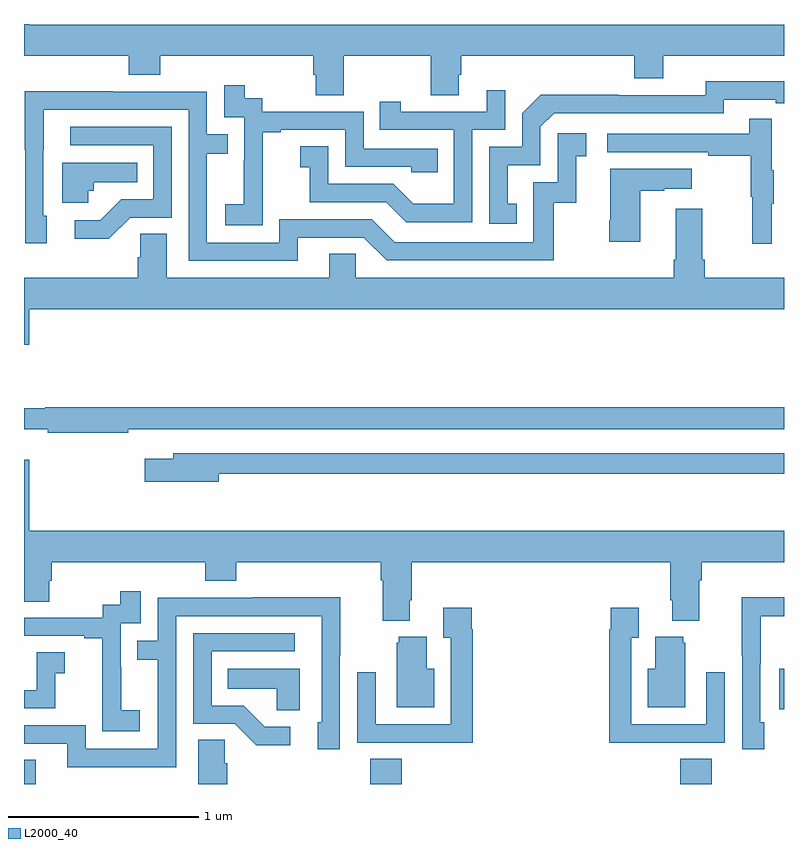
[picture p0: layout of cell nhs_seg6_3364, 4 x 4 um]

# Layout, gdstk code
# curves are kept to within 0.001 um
import gdstk
lib = gdstk.Library(unit=1e-6, precision=1e-09)
def R(c, l, rs):  # rectangles x0, y0, x1, y1
    for r in rs: c.add(gdstk.rectangle(r[:2], r[2:], *l))
def P(c, l, *ps):  # polygons
    for p in ps: c.add(gdstk.Polygon(p, *l))
L2000_40 = (2000, 40)

nhs_seg6_3364 = lib.new_cell('nhs_seg6_3364')
R(nhs_seg6_3364, L2000_40, [(309,947.5,309.061,947.627), (310.823,947.5,310.988,947.633), (312.455,947.5,312.62,947.633), (312.974,947.894,313,948.106)])
P(nhs_seg6_3364, L2000_40, [(310.683,951.332),(311.14,951.332),(311.14,951.124),(311.287,951.124),(311.287,951.234),(311.3,951.234),(311.3,951.332),(312.212,951.332),(312.212,951.215),(312.364,951.215),(312.364,951.332),(313,951.332),(313,951.496),(309.028,951.496),(309.028,951.5),(309,951.5),(309,951.332),(309.551,951.332),(309.551,951.233),(309.716,951.233),(309.716,951.332),(310.523,951.332),(310.523,951.234),(310.535,951.234),(310.535,951.124),(310.683,951.124)],
  [(311.594,950.553),(311.545,950.553),(311.545,950.757),(311.718,950.757),(311.718,950.958),(311.79,951.03),(312.684,951.03),(312.684,951.102),(312.956,951.102),(312.956,951.082),(313,951.082),(313,951.198),(312.588,951.199),(312.588,951.126),(312.128,951.126),(312.128,951.128),(311.72,951.128),(311.622,951.03),(311.622,950.853),(311.448,950.853),(311.448,950.448),(311.594,950.448)],
  [(310.257,950.647),(310.256,950.647),(310.256,950.931),(310.351,950.931),(310.351,950.943),(310.692,950.943),(310.692,950.748),(311.037,950.748),(311.037,950.721),(311.177,950.721),(311.177,950.844),(310.788,950.844),(310.788,951.039),(310.254,951.039),(310.254,951.108),(310.162,951.108),(310.162,951.178),(310.053,951.178),(310.053,951.009),(310.158,951.009),(310.158,950.78),(310.157,950.78),(310.157,950.551),(310.059,950.551),(310.059,950.441),(310.257,950.441)],
  [(311.358,950.943),(311.532,950.943),(311.532,951.151),(311.435,951.151),(311.435,951.039),(310.984,951.039),(310.984,951.091),(310.873,951.091),(310.873,950.943),(311.262,950.943),(311.262,950.554),(311.048,950.554),(310.944,950.658),(310.602,950.658),(310.602,950.857),(310.455,950.857),(310.455,950.747),(310.504,950.747),(310.504,950.562),(310.907,950.562),(311.012,950.457),(311.358,950.457)],
  [(310.441,950.376),(310.788,950.376),(310.908,950.256),(311.788,950.256),(311.788,950.559),(311.906,950.559),(311.906,950.805),(311.959,950.805),(311.959,950.926),(311.808,950.926),(311.808,950.667),(311.679,950.667),(311.679,950.352),(310.95,950.352),(310.83,950.472),(310.344,950.472),(310.344,950.349),(309.963,950.349),(309.963,950.818),(310.073,950.818),(310.073,950.919),(309.963,950.919),(309.963,951.144),(309.467,951.144),(309.467,951.146),(309.004,951.146),(309.004,950.839),(309.006,950.839),(309.006,950.346),(309.121,950.346),(309.121,950.49),(309.102,950.49),(309.103,951.048),(309.867,951.048),(309.867,950.253),(310.441,950.253)],
  [(312.935,950.555),(312.946,950.555),(312.946,950.729),(312.935,950.729),(312.935,951.001),(312.817,951.001),(312.817,950.922),(312.069,950.922),(312.069,950.826),(312.601,950.826),(312.601,950.806),(312.825,950.806),(312.825,950.592),(312.832,950.592),(312.832,950.343),(312.935,950.343)],
  [(309.558,950.481),(309.777,950.481),(309.777,950.958),(309.243,950.958),(309.243,950.862),(309.681,950.862),(309.681,950.577),(309.512,950.577),(309.401,950.466),(309.267,950.466),(309.267,950.369),(309.445,950.369)],
  [(309.339,950.622),(309.366,950.622),(309.366,950.666),(309.596,950.666),(309.596,950.77),(309.2,950.77),(309.2,950.558),(309.339,950.558)],
  [(312.244,950.623),(312.371,950.623),(312.371,950.633),(312.514,950.633),(312.514,950.737),(312.086,950.737),(312.086,950.467),(312.079,950.467),(312.079,950.355),(312.244,950.355)],
  [(309.028,950),(313,950),(313,950.164),(312.584,950.164),(312.584,950.26),(312.571,950.26),(312.571,950.527),(312.431,950.527),(312.431,950.26),(312.419,950.26),(312.419,950.164),(310.746,950.164),(310.746,950.291),(310.607,950.291),(310.607,950.164),(309.751,950.164),(309.751,950.396),(309.612,950.396),(309.612,950.273),(309.599,950.273),(309.599,950.164),(309,950.164),(309,949.812),(309.028,949.812)],
  [(309.548,949.368),(313,949.368),(313,949.484),(309.113,949.484),(309.113,949.477),(309,949.477),(309,949.367),(309.124,949.367),(309.124,949.348),(309.548,949.348)],
  [(310.024,949.134),(313,949.134),(313,949.242),(309.785,949.242),(309.785,949.213),(309.636,949.213),(309.636,949.091),(310.024,949.091)],
  [(311.029,948.466),(311.042,948.466),(311.042,948.668),(312.401,948.668),(312.401,948.466),(312.413,948.466),(312.413,948.359),(312.553,948.359),(312.553,948.572),(312.566,948.572),(312.566,948.668),(313,948.668),(313,948.832),(309.028,948.832),(309.028,949.207),(309,949.207),(309,948.46),(309.133,948.46),(309.133,948.57),(309.146,948.57),(309.146,948.668),(309.953,948.668),(309.953,948.569),(310.118,948.569),(310.118,948.668),(310.877,948.668),(310.877,948.572),(310.889,948.572),(310.889,948.359),(311.029,948.359)],
  [(309.61,947.887),(309.512,947.887),(309.512,948.116),(309.51,948.116),(309.51,948.345),(309.615,948.345),(309.615,948.514),(309.507,948.514),(309.507,948.444),(309.414,948.444),(309.414,948.375),(309,948.375),(309,948.279),(309.317,948.279),(309.317,948.267),(309.413,948.267),(309.413,947.983),(309.412,947.983),(309.412,947.777),(309.61,947.777)],
  [(309.801,948.384),(310.566,948.384),(310.566,947.826),(310.547,947.826),(310.547,947.682),(310.662,947.682),(310.662,948.175),(310.665,948.175),(310.665,948.482),(310.201,948.482),(310.201,948.48),(309.705,948.48),(309.705,948.255),(309.595,948.255),(309.595,948.154),(309.705,948.154),(309.705,947.685),(309.324,947.685),(309.324,947.808),(309,947.808),(309,947.712),(309.227,947.712),(309.227,947.589),(309.801,947.589)],
  [(312.895,947.826),(312.876,947.826),(312.876,948.13),(312.877,948.13),(312.877,948.384),(313,948.384),(313,948.482),(312.778,948.482),(312.778,948.175),(312.78,948.175),(312.78,947.682),(312.895,947.682)],
  [(312.371,947.718),(312.687,947.718),(312.687,948.088),(312.591,948.088),(312.591,947.814),(312.195,947.814),(312.195,948.271),(312.235,948.271),(312.235,948.427),(312.087,948.427),(312.087,948.314),(312.079,948.314),(312.079,947.717),(312.371,947.717)],
  [(311.363,948.314),(311.356,948.314),(311.356,948.427),(311.207,948.427),(311.207,948.271),(311.247,948.271),(311.247,947.814),(310.851,947.814),(310.851,948.088),(310.755,948.088),(310.755,947.718),(311.071,947.718),(311.071,947.717),(311.363,947.717)],
  [(310.402,947.802),(310.267,947.802),(310.156,947.913),(309.987,947.913),(309.987,948.198),(310.426,948.198),(310.426,948.294),(309.891,948.294),(309.891,947.817),(310.11,947.817),(310.223,947.705),(310.402,947.705)],
  [(311.158,948.106),(311.119,948.106),(311.119,948.274),(310.973,948.274),(310.973,948.243),(310.961,948.243),(310.961,947.903),(311.158,947.903)],
  [(312.481,948.243),(312.47,948.243),(312.47,948.274),(312.323,948.274),(312.323,948.106),(312.284,948.106),(312.284,947.903),(312.481,947.903)],
  [(309.165,948.083),(309.214,948.083),(309.214,948.193),(309.066,948.193),(309.066,947.994),(309,947.994),(309,947.898),(309.165,947.898)],
  [(310.45,948.106),(310.072,948.106),(310.072,948.002),(310.329,948.002),(310.329,947.887),(310.45,947.887)],
  [(310.07,947.609),(310.056,947.609),(310.056,947.732),(309.917,947.732),(309.917,947.5),(310.07,947.5)])

lib.write_gds('nhs_seg6_3364.gds')
